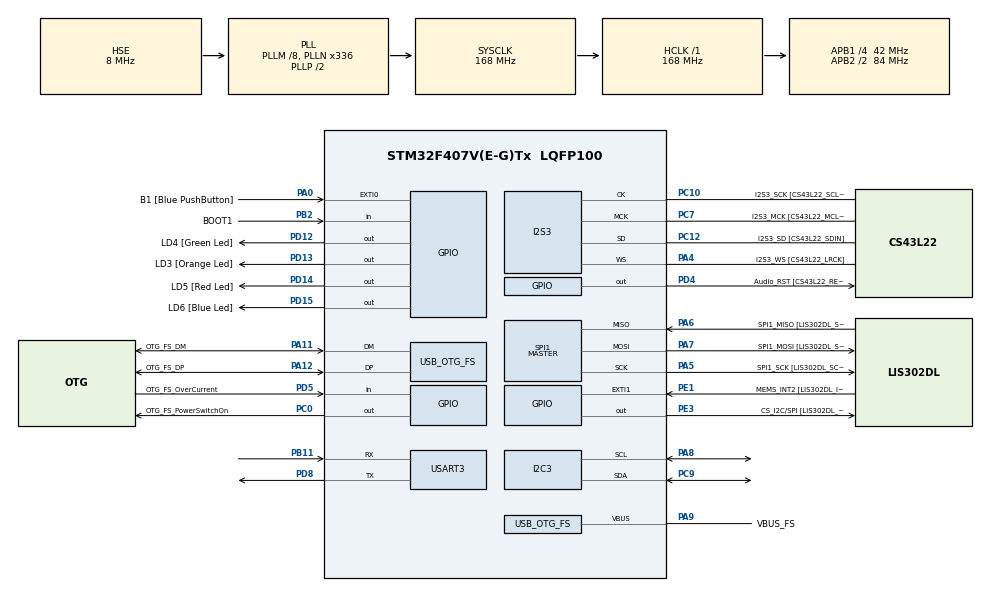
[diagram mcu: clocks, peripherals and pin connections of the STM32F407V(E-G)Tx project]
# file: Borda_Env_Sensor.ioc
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I2S3.AudioFreq-Half_Duplex_Master=I2S_AUDIOFREQ_96K
I2S3.ErrorAudioFreq=-2.34 %
I2S3.ErrorAudioFreq-Half_Duplex_Master=0.8 %
I2S3.FullDuplexMode=I2S_FULLDUPLEXMODE_DISABLE
I2S3.Instance=SPI$Index
I2S3.RealAudioFreq=93.75 KHz
I2S3.RealAudioFreq-Half_Duplex_Master=96.774 KHz
I2S3.VirtualMode=I2S_MODE_MASTER
Mcu.Family=STM32F4
Mcu.Name=STM32F407V(E-G)Tx
Mcu.Package=LQFP100
NVIC.OTG_FS_IRQn=true\:0\:0\:false\:false\:true\:true\:true\:true
NVIC.PriorityGroup=NVIC_PRIORITYGROUP_0
PA0-WKUP.GPIO_Label=B1 [Blue PushButton]
PA0-WKUP.GPIO_ModeDefaultEXTI=GPIO_MODE_EVT_RISING
PA0-WKUP.GPIO_PuPd=GPIO_NOPULL
PA0-WKUP.Signal=GPXTI0
PA10.GPIO_Label=OTG_FS_ID
PA10.GPIO_Mode=GPIO_MODE_AF_PP
PA10.GPIO_PuPd=GPIO_NOPULL
PA10.GPIO_Speed=GPIO_SPEED_FREQ_LOW
PA10.Signal=USB_OTG_FS_ID
PA11.GPIO_Label=OTG_FS_DM
PA11.GPIO_Mode=GPIO_MODE_AF_PP
PA11.GPIO_PuPd=GPIO_NOPULL
PA11.GPIO_Speed=GPIO_SPEED_FREQ_LOW
PA11.Mode=Host_Only
PA11.Signal=USB_OTG_FS_DM
PA12.GPIO_Label=OTG_FS_DP
PA12.GPIO_Mode=GPIO_MODE_AF_PP
PA12.GPIO_PuPd=GPIO_NOPULL
PA12.GPIO_Speed=GPIO_SPEED_FREQ_LOW
PA12.Mode=Host_Only
PA12.Signal=USB_OTG_FS_DP
PA13.GPIO_Label=SWDIO
PA13.Mode=Serial_Wire
PA13.Signal=SYS_JTMS-SWDIO
PA14.GPIO_Label=SWCLK
PA14.Mode=Serial_Wire
PA14.Signal=SYS_JTCK-SWCLK
PA4.GPIO_Label=I2S3_WS [CS43L22_LRCK]
PA4.GPIO_Mode=GPIO_MODE_AF_PP
PA4.GPIO_PuPd=GPIO_NOPULL
PA4.GPIO_Speed=GPIO_SPEED_FREQ_LOW
PA4.Mode=Half_Duplex_Master
PA4.Signal=I2S3_WS
PA5.GPIO_Label=SPI1_SCK [LIS302DL_SCL/SPC]
PA5.GPIO_Mode=GPIO_MODE_AF_PP
PA5.GPIO_PuPd=GPIO_NOPULL
PA5.GPIO_Speed=GPIO_SPEED_FREQ_LOW
PA5.Mode=Full_Duplex_Master
PA5.Signal=SPI1_SCK
PA6.GPIO_Label=SPI1_MISO [LIS302DL_SDO]
PA6.GPIO_Mode=GPIO_MODE_AF_PP
PA6.GPIO_PuPd=GPIO_NOPULL
PA6.GPIO_Speed=GPIO_SPEED_FREQ_LOW
PA6.Mode=Full_Duplex_Master
PA6.Signal=SPI1_MISO
PA7.GPIO_Label=SPI1_MOSI [LIS302DL_SDA/SDI/SDO]
PA7.GPIO_Mode=GPIO_MODE_AF_PP
PA7.GPIO_PuPd=GPIO_NOPULL
PA7.GPIO_Speed=GPIO_SPEED_FREQ_LOW
PA7.Mode=Full_Duplex_Master
PA7.Signal=SPI1_MOSI
PA8.Mode=I2C
PA8.Signal=I2C3_SCL
PA9.GPIO_Label=VBUS_FS
PA9.GPIO_Mode=GPIO_MODE_INPUT
PA9.GPIO_PuPd=GPIO_NOPULL
PA9.Mode=Activate_VBUS
PA9.Signal=USB_OTG_FS_VBUS
PB10.GPIO_Label=CLK_IN [MP45DT02_CLK]
PB10.GPIO_Mode=GPIO_MODE_AF_PP
PB10.GPIO_PuPd=GPIO_NOPULL
PB10.GPIO_Speed=GPIO_SPEED_FREQ_LOW
PB10.Signal=I2S2_CK
PB11.Mode=Asynchronous
PB11.Signal=USART3_RX
PB2.GPIO_Label=BOOT1
PB2.GPIO_Mode=GPIO_MODE_INPUT
PB2.GPIO_PuPd=GPIO_NOPULL
PB2.Signal=GPIO_Input
PB3.GPIO_Label=SWO
PB3.Signal=SYS_JTDO-SWO
PB6.GPIO_Label=Audio_SCL [CS43L22_SCL]
PB6.GPIO_Mode=GPIO_MODE_AF_OD
PB6.GPIO_Pu=GPIO_PULLUP
PB6.GPIO_PuPd=GPIO_NOPULL
PB6.GPIO_Speed=GPIO_SPEED_FREQ_LOW
PB6.Signal=I2C1_SCL
PB9.GPIO_Label=Audio_SDA [CS43L22_SDA]
PB9.GPIO_Mode=GPIO_MODE_AF_OD
PB9.GPIO_Pu=GPIO_PULLUP
PB9.GPIO_PuPd=GPIO_NOPULL
PB9.GPIO_Speed=GPIO_SPEED_FREQ_LOW
PB9.Signal=I2C1_SDA
PC0.GPIO_Label=OTG_FS_PowerSwitchOn
PC0.GPIO_PuPd=GPIO_NOPULL
PC0.GPIO_Speed=GPIO_SPEED_FREQ_LOW
PC0.PinState=GPIO_PIN_SET
PC0.Signal=GPIO_Output
PC10.GPIO_Label=I2S3_SCK [CS43L22_SCLK]
PC10.GPIO_Mode=GPIO_MODE_AF_PP
PC10.GPIO_PuPd=GPIO_NOPULL
PC10.GPIO_Speed=GPIO_SPEED_FREQ_LOW
PC10.Mode=Half_Duplex_Master
PC10.Signal=I2S3_CK
PC12.GPIO_Label=I2S3_SD [CS43L22_SDIN]
PC12.GPIO_Mode=GPIO_MODE_AF_PP
PC12.GPIO_PuPd=GPIO_NOPULL
PC12.GPIO_Speed=GPIO_SPEED_FREQ_LOW
PC12.Mode=Half_Duplex_Master
PC12.Signal=I2S3_SD
PC14-OSC32_IN.GPIO_Label=PC14-OSC32_IN
PC14-OSC32_IN.Mode=LSE-External-Oscillator
PC14-OSC32_IN.Signal=RCC_OSC32_IN
PC15-OSC32_OUT.GPIO_Label=PC15-OSC32_OUT
PC15-OSC32_OUT.Mode=LSE-External-Oscillator
PC15-OSC32_OUT.Signal=RCC_OSC32_OUT
PC3.GPIO_Label=PDM_OUT [MP45DT02_DOUT]
PC3.GPIO_Mode=GPIO_MODE_AF_PP
PC3.GPIO_PuPd=GPIO_NOPULL
PC3.GPIO_Speed=GPIO_SPEED_FREQ_LOW
PC3.Signal=I2S2_SD
PC7.GPIO_Label=I2S3_MCK [CS43L22_MCLK]
PC7.GPIO_Mode=GPIO_MODE_AF_PP
PC7.GPIO_PuPd=GPIO_NOPULL
PC7.GPIO_Speed=GPIO_SPEED_FREQ_LOW
PC7.Mode=Master_Clock_Activated
PC7.Signal=I2S3_MCK
PC9.Mode=I2C
PC9.Signal=I2C3_SDA
PD12.GPIO_Label=LD4 [Green Led]
PD12.GPIO_PuPd=GPIO_NOPULL
PD12.GPIO_Speed=GPIO_SPEED_FREQ_LOW
PD12.Signal=GPIO_Output
PD13.GPIO_Label=LD3 [Orange Led]
PD13.GPIO_PuPd=GPIO_NOPULL
PD13.GPIO_Speed=GPIO_SPEED_FREQ_LOW
PD13.Signal=GPIO_Output
PD14.GPIO_Label=LD5 [Red Led]
PD14.GPIO_PuPd=GPIO_NOPULL
PD14.GPIO_Speed=GPIO_SPEED_FREQ_LOW
PD14.Signal=GPIO_Output
PD15.GPIO_Label=LD6 [Blue Led]
PD15.GPIO_PuPd=GPIO_NOPULL
PD15.GPIO_Speed=GPIO_SPEED_FREQ_LOW
PD15.Signal=GPIO_Output
PD4.GPIO_Label=Audio_RST [CS43L22_RESET]
PD4.GPIO_PuPd=GPIO_NOPULL
PD4.GPIO_Speed=GPIO_SPEED_FREQ_LOW
PD4.Signal=GPIO_Output
PD5.GPIO_Label=OTG_FS_OverCurrent
PD5.GPIO_Mode=GPIO_MODE_INPUT
PD5.GPIO_PuPd=GPIO_NOPULL
PD5.Signal=GPIO_Input
PD8.Mode=Asynchronous
PD8.Signal=USART3_TX
PE1.GPIO_Label=MEMS_INT2 [LIS302DL_INT2]
PE1.GPIO_ModeDefaultEXTI=GPIO_MODE_EVT_RISING
PE1.GPIO_PuPd=GPIO_NOPULL
PE1.Signal=GPXTI1
PE3.GPIO_Label=CS_I2C/SPI [LIS302DL_CS_I2C/SPI]
PE3.GPIO_PuPd=GPIO_NOPULL
PE3.GPIO_Speed=GPIO_SPEED_FREQ_LOW
PE3.Signal=GPIO_Output
PH0-OSC_IN.GPIO_Label=PH0-OSC_IN
PH0-OSC_IN.Mode=HSE-External-Oscillator
PH0-OSC_IN.Signal=RCC_OSC_IN
PH1-OSC_OUT.GPIO_Label=PH1-OSC_OUT
PH1-OSC_OUT.Mode=HSE-External-Oscillator
PH1-OSC_OUT.Signal=RCC_OSC_OUT
ProjectManager.HeapSize=0x200
ProjectManager.StackSize=0x400
ProjectManager.TargetToolchain=STM32CubeIDE
RCC.48MHZClocksFreq_Value=48000000
RCC.AHBFreq_Value=168000000
RCC.APB1CLKDivider=RCC_HCLK_DIV4
RCC.APB1Freq_Value=42000000
RCC.APB1TimFreq_Value=84000000
RCC.APB2CLKDivider=RCC_HCLK_DIV2
RCC.APB2Freq_Value=84000000
RCC.APB2TimFreq_Value=168000000
RCC.CortexFreq_Value=168000000
RCC.HCLKFreq_Value=168000000
RCC.HSE_VALUE=8000000
RCC.HSI_VALUE=16000000
RCC.PLLM=8
RCC.PLLN=336
RCC.PLLQ=7
RCC.SYSCLKFreq_VALUE=168000000
RCC.SYSCLKSource=RCC_SYSCLKSOURCE_PLLCLK
RCC.VCOOutputFreq_Value=336000000
SPI1.BaudRatePrescaler-Full_Duplex_Master=SPI_BAUDRATEPRESCALER_2
SPI1.CalculateBaudRate-Full_Duplex_Master=42.0 MBits/s
SPI1.Direction=SPI_DIRECTION_2LINES
SPI1.Mode=SPI_MODE_MASTER
SPI1.Mode-Full_Duplex_Master=SPI_MODE_MASTER
SPI1.VirtualType=VM_MASTER
USART3.VirtualMode=VM_ASYNC
USB_HOST.BSP.number=1
USB_HOST.USBH_HandleTypeDef-CDC_FS=hUsbHostFS
USB_HOST.VirtualModeFS=Cdc
USB_HOST0.BSP.STBoard=false
USB_HOST0.BSP.api=Unknown
USB_HOST0.BSP.instance=PC0
USB_HOST0.BSP.ip=GPIO
USB_HOST0.BSP.mode=Output
USB_HOST0.BSP.name=Drive_VBUS_FS
USB_HOST0.BSP.solution=PC0
USB_OTG_FS.VirtualMode=Host_Only
USB_OTG_FS.phy_itface=HCD_PHY_EMBEDDED
VP_USB_HOST_VS_USB_HOST_CDC_FS.Mode=CDC_FS
board=STM32F407G-DISC1

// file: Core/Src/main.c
/* USER CODE BEGIN Header */
/**
  ******************************************************************************
  * @file           : main.c
  * @brief          : Main program body
  ******************************************************************************
  * @attention
  *
  * Copyright (c) 2026 STMicroelectronics.
  * All rights reserved.
  *
  * This software is licensed under terms that can be found in the LICENSE file
  * in the root directory of this software component.
  * If no LICENSE file comes with this software, it is provided AS-IS.
  *
  *	@Reference: This project architecture and code generation were assisted by
  * AI tools (Claude Sonnet 4.6) as encouraged in the Borda Academy 2026
  * assignment guidelines. Sensor datasheet links and revisions are manually
  * verified and documented in their respective header files.
  *
  ******************************************************************************
  */
/* USER CODE END Header */
#include "main.h"
#include "usb_host.h"

/* USER CODE BEGIN Includes */

#include <stdio.h>              /* printf()                                    */
#include <stdlib.h>             /* srand(), rand() for mock RNG seed          */
#include "sensor_manager.h"     /* i2c_sensor_read(), sensor_t                 */
#include "median_filter.h"      /* filter_sensor_value(), median_filter_reset_all() */
#include "circular_buffer.h"    /* buf_handle_t, buffer_put_value(), ...       */
#include "ble_simulator.h"      /* ble_packet_t, ble_compute_statistics(), ... */

/* USER CODE END Includes */

I2C_HandleTypeDef hi2c3;

I2S_HandleTypeDef hi2s3;

SPI_HandleTypeDef hspi1;

UART_HandleTypeDef huart3;

/* USER CODE BEGIN PV */

/* ── Timing constants ────────────────────────────────────────────────────
 *   HAL_GetTick() returns ms elapsed since boot.
 *   1 Hz  = 1 000 ms   → sensor read period
 *   30 s  = 30 000 ms  → BLE / UART report period                         */
#define SENSOR_READ_PERIOD_MS    (1000UL)
#define BLE_REPORT_PERIOD_MS    (30000UL)

/* ── Circular buffer capacity ────────────────────────────────────────────
 *   30 seconds × 1 sample/s = 30 samples.
 *   Adding a few extra slots (32) avoids any off-by-one wrap issues.      */
#define SENSOR_BUF_CAPACITY     (30U)

/* ── Filter window size ──────────────────────────────────────────────────
 *   5-sample window: good noise rejection, low latency at 1 Hz.
 *   Must be odd (or median_filter will promote it); see median_filter.h.  */
#define FILTER_WINDOW_SIZE       (5U)

/* ── Backing arrays for the three circular buffers ───────────────────────*/
static float s_temp_data_arr[SENSOR_BUF_CAPACITY];
static float s_hum_data_arr [SENSOR_BUF_CAPACITY];
static float s_co2_data_arr [SENSOR_BUF_CAPACITY];

/* ── Circular buffer handles ─────────────────────────────────────────────*/
static struct buf_handle_t s_temp_buf;
static struct buf_handle_t s_hum_buf;
static struct buf_handle_t s_co2_buf;

/* ── Timestamp trackers ──────────────────────────────────────────────────*/
static uint32_t s_last_read_tick   = 0UL;
static uint32_t s_last_report_tick = 0UL;

/* USER CODE END PV */

void SystemClock_Config(void);
static void MX_GPIO_Init(void);
static void MX_I2S3_Init(void);
static void MX_SPI1_Init(void);
static void MX_I2C3_Init(void);
static void MX_USART3_UART_Init(void);
void MX_USB_HOST_Process(void);

/* USER CODE BEGIN 0 */

/*
 * Redirect printf() → UART3 (115 200 8N1).
 *
 * STM32CubeIDE's syscalls.c provides a weak _write() that calls
 * __io_putchar() one byte at a time.  This override sends the whole
 * buffer in a single HAL_UART_Transmit() call, which is more efficient
 * and avoids the overhead of per-byte interrupt entries.
 *
 * NOTE: huart3 is declared above in the "Private variables" section of
 * this same translation unit; no extern declaration is needed here.
 */

int __io_putchar(int ch)
{
    uint8_t byte = (uint8_t)ch;
    HAL_UART_Transmit(&huart3, &byte, 1U, HAL_MAX_DELAY);
    return ch;
}

/* USER CODE END 0 */

int main(void)
{

  /* MCU Configuration--------------------------------------------------------*/

  /* Reset of all peripherals, Initializes the Flash interface and the Systick. */
  HAL_Init();

  /* Configure the system clock */
  SystemClock_Config();

  /* Initialize all configured peripherals */
  MX_GPIO_Init();
  MX_I2S3_Init();
  MX_SPI1_Init();
  MX_USB_HOST_Init();
  MX_I2C3_Init();
  MX_USART3_UART_Init();
  /* USER CODE BEGIN 2 */

  /* ── Seed the pseudo-random number generator for mock sensor data ── */
  srand((unsigned int)HAL_GetTick());

  /* Initialise all median filter instances */
      median_filter_reset_all();

      /* Initialise circular buffers */
      buffer_init(&s_temp_buf, s_temp_data_arr, SENSOR_BUF_CAPACITY);
      buffer_init(&s_hum_buf,  s_hum_data_arr,  SENSOR_BUF_CAPACITY);
      buffer_init(&s_co2_buf,  s_co2_data_arr,  SENSOR_BUF_CAPACITY);

      /* Capture boot time so the first read fires almost immediately */
      s_last_read_tick   = HAL_GetTick();
      s_last_report_tick = HAL_GetTick();

      printf("\r\n========================================\r\n");
      printf("  Borda Academy 2026 - Sensor Monitor  \r\n");
      printf("  Board: STM32F407G-DISC1              \r\n");
      printf("  Read period : %lu ms                 \r\n", SENSOR_READ_PERIOD_MS);
      printf("  Report period: %lu ms                \r\n", BLE_REPORT_PERIOD_MS);
      printf("========================================\r\n\r\n");

  /* USER CODE END 2 */

  /* Infinite loop */
  while (1)
  {
    MX_USB_HOST_Process();

    /* USER CODE BEGIN 3 */

    uint32_t now = HAL_GetTick();

            /* ── 1 Hz: Read all three sensors, filter, and buffer ────────────── */
            if ((now - s_last_read_tick) >= SENSOR_READ_PERIOD_MS)
            {
                s_last_read_tick = now;

                /*
                 * Sensor read order MUST remain fixed:
                 *   1. TEMP     → median filter instance 0
                 *   2. HUMIDITY → median filter instance 1
                 *   3. CO2      → median filter instance 2
                 * Changing the order breaks the round-robin assignment in
                 * median_filter.c.  See median_filter.h for details.
                 */

                /* 1. Temperature — TMP102 @ 0x48 */
                float raw_temp = i2c_sensor_read(SENSOR_ADDR_TEMP, TEMP);
                float flt_temp = filter_sensor_value(raw_temp, FILTER_WINDOW_SIZE);
                buffer_put_value(&s_temp_buf, flt_temp);

                /* 2. Relative Humidity — SHTC3 @ 0x70 */
                float raw_hum  = i2c_sensor_read(SENSOR_ADDR_HUMIDITY, HUMIDITY);
                float flt_hum  = filter_sensor_value(raw_hum, FILTER_WINDOW_SIZE);
                buffer_put_value(&s_hum_buf, flt_hum);

                /* 3. eCO2 — SGP30 @ 0x58 */
                float raw_co2  = i2c_sensor_read(SENSOR_ADDR_CO2, CO2);
                float flt_co2  = filter_sensor_value(raw_co2, FILTER_WINDOW_SIZE);
                buffer_put_value(&s_co2_buf, flt_co2);

                /* Optional: single-line live readout for debugging */
                printf("[READ] T=%6.2f C  RH=%5.1f %%  CO2=%6.0f ppm\r\n",
                       (double)flt_temp, (double)flt_hum, (double)flt_co2);
            }

            /* ── 30 s: Compute statistics and send BLE packets ───────────────── */
            if ((now - s_last_report_tick) >= BLE_REPORT_PERIOD_MS)
            {
                s_last_report_tick = now;

                ble_packet_t pkt;

                printf("\r\n--- 30-second BLE Report ---\r\n");

                ble_compute_statistics(&s_temp_buf, TEMP,     &pkt);
                send_ble_packet_uart(&pkt, TEMP);

                ble_compute_statistics(&s_hum_buf,  HUMIDITY, &pkt);
                send_ble_packet_uart(&pkt, HUMIDITY);

                ble_compute_statistics(&s_co2_buf,  CO2,      &pkt);
                send_ble_packet_uart(&pkt, CO2);

                printf("----------------------------\r\n\r\n");
            }
  }
  /* USER CODE END 3 */
}

void SystemClock_Config(void)
{
  RCC_OscInitTypeDef RCC_OscInitStruct = {0};
  RCC_ClkInitTypeDef RCC_ClkInitStruct = {0};

  /** Configure the main internal regulator output voltage
  */
  __HAL_RCC_PWR_CLK_ENABLE();
  __HAL_PWR_VOLTAGESCALING_CONFIG(PWR_REGULATOR_VOLTAGE_SCALE1);

  /** Initializes the RCC Oscillators according to the specified parameters
  * in the RCC_OscInitTypeDef structure.
  */
  RCC_OscInitStruct.OscillatorType = RCC_OSCILLATORTYPE_HSE;
  RCC_OscInitStruct.HSEState = RCC_HSE_ON;
  RCC_OscInitStruct.PLL.PLLState = RCC_PLL_ON;
  RCC_OscInitStruct.PLL.PLLSource = RCC_PLLSOURCE_HSE;
  RCC_OscInitStruct.PLL.PLLM = 8;
  RCC_OscInitStruct.PLL.PLLN = 336;
  RCC_OscInitStruct.PLL.PLLP = RCC_PLLP_DIV2;
  RCC_OscInitStruct.PLL.PLLQ = 7;
  if (HAL_RCC_OscConfig(&RCC_OscInitStruct) != HAL_OK)
  {
    Error_Handler();
  }

  /** Initializes the CPU, AHB and APB buses clocks
  */
  RCC_ClkInitStruct.ClockType = RCC_CLOCKTYPE_HCLK|RCC_CLOCKTYPE_SYSCLK
                              |RCC_CLOCKTYPE_PCLK1|RCC_CLOCKTYPE_PCLK2;
  RCC_ClkInitStruct.SYSCLKSource = RCC_SYSCLKSOURCE_PLLCLK;
  RCC_ClkInitStruct.AHBCLKDivider = RCC_SYSCLK_DIV1;
  RCC_ClkInitStruct.APB1CLKDivider = RCC_HCLK_DIV4;
  RCC_ClkInitStruct.APB2CLKDivider = RCC_HCLK_DIV2;

  if (HAL_RCC_ClockConfig(&RCC_ClkInitStruct, FLASH_LATENCY_5) != HAL_OK)
  {
    Error_Handler();
  }
}

static void MX_I2C3_Init(void)
{

  hi2c3.Instance = I2C3;
  hi2c3.Init.ClockSpeed = 100000;
  hi2c3.Init.DutyCycle = I2C_DUTYCYCLE_2;
  hi2c3.Init.OwnAddress1 = 0;
  hi2c3.Init.AddressingMode = I2C_ADDRESSINGMODE_7BIT;
  hi2c3.Init.DualAddressMode = I2C_DUALADDRESS_DISABLE;
  hi2c3.Init.OwnAddress2 = 0;
  hi2c3.Init.GeneralCallMode = I2C_GENERALCALL_DISABLE;
  hi2c3.Init.NoStretchMode = I2C_NOSTRETCH_DISABLE;
  if (HAL_I2C_Init(&hi2c3) != HAL_OK)
  {
    Error_Handler();
  }

}

static void MX_I2S3_Init(void)
{

  hi2s3.Instance = SPI3;
  hi2s3.Init.Mode = I2S_MODE_MASTER_TX;
  hi2s3.Init.Standard = I2S_STANDARD_PHILIPS;
  hi2s3.Init.DataFormat = I2S_DATAFORMAT_16B;
  hi2s3.Init.MCLKOutput = I2S_MCLKOUTPUT_ENABLE;
  hi2s3.Init.AudioFreq = I2S_AUDIOFREQ_96K;
  hi2s3.Init.CPOL = I2S_CPOL_LOW;
  hi2s3.Init.ClockSource = I2S_CLOCK_PLL;
  hi2s3.Init.FullDuplexMode = I2S_FULLDUPLEXMODE_DISABLE;
  if (HAL_I2S_Init(&hi2s3) != HAL_OK)
  {
    Error_Handler();
  }

}

static void MX_SPI1_Init(void)
{

  /* SPI1 parameter configuration*/
  hspi1.Instance = SPI1;
  hspi1.Init.Mode = SPI_MODE_MASTER;
  hspi1.Init.Direction = SPI_DIRECTION_2LINES;
  hspi1.Init.DataSize = SPI_DATASIZE_8BIT;
  hspi1.Init.CLKPolarity = SPI_POLARITY_LOW;
  hspi1.Init.CLKPhase = SPI_PHASE_1EDGE;
  hspi1.Init.NSS = SPI_NSS_SOFT;
  hspi1.Init.BaudRatePrescaler = SPI_BAUDRATEPRESCALER_2;
  hspi1.Init.FirstBit = SPI_FIRSTBIT_MSB;
  hspi1.Init.TIMode = SPI_TIMODE_DISABLE;
  hspi1.Init.CRCCalculation = SPI_CRCCALCULATION_DISABLE;
  hspi1.Init.CRCPolynomial = 10;
  if (HAL_SPI_Init(&hspi1) != HAL_OK)
  {
    Error_Handler();
  }

}

static void MX_USART3_UART_Init(void)
{

  huart3.Instance = USART3;
  huart3.Init.BaudRate = 115200;
  huart3.Init.WordLength = UART_WORDLENGTH_8B;
  huart3.Init.StopBits = UART_STOPBITS_1;
  huart3.Init.Parity = UART_PARITY_NONE;
  huart3.Init.Mode = UART_MODE_TX_RX;
  huart3.Init.HwFlowCtl = UART_HWCONTROL_NONE;
  huart3.Init.OverSampling = UART_OVERSAMPLING_16;
  if (HAL_UART_Init(&huart3) != HAL_OK)
  {
    Error_Handler();
  }

}

static void MX_GPIO_Init(void)
{
  GPIO_InitTypeDef GPIO_InitStruct = {0};

  /* GPIO Ports Clock Enable */
  __HAL_RCC_GPIOE_CLK_ENABLE();
  __HAL_RCC_GPIOC_CLK_ENABLE();
  __HAL_RCC_GPIOH_CLK_ENABLE();
  __HAL_RCC_GPIOA_CLK_ENABLE();
  __HAL_RCC_GPIOB_CLK_ENABLE();
  __HAL_RCC_GPIOD_CLK_ENABLE();

  /*Configure GPIO pin Output Level */
  HAL_GPIO_WritePin(CS_I2C_SPI_GPIO_Port, CS_I2C_SPI_Pin, GPIO_PIN_RESET);

  /*Configure GPIO pin Output Level */
  HAL_GPIO_WritePin(OTG_FS_PowerSwitchOn_GPIO_Port, OTG_FS_PowerSwitchOn_Pin, GPIO_PIN_SET);

  /*Configure GPIO pin Output Level */
  HAL_GPIO_WritePin(GPIOD, LD4_Pin|LD3_Pin|LD5_Pin|LD6_Pin
                          |Audio_RST_Pin, GPIO_PIN_RESET);

  /*Configure GPIO pin : CS_I2C_SPI_Pin */
  GPIO_InitStruct.Pin = CS_I2C_SPI_Pin;
  GPIO_InitStruct.Mode = GPIO_MODE_OUTPUT_PP;
  GPIO_InitStruct.Pull = GPIO_NOPULL;
  GPIO_InitStruct.Speed = GPIO_SPEED_FREQ_LOW;
  HAL_GPIO_Init(CS_I2C_SPI_GPIO_Port, &GPIO_InitStruct);

  /*Configure GPIO pin : OTG_FS_PowerSwitchOn_Pin */
  GPIO_InitStruct.Pin = OTG_FS_PowerSwitchOn_Pin;
  GPIO_InitStruct.Mode = GPIO_MODE_OUTPUT_PP;
  GPIO_InitStruct.Pull = GPIO_NOPULL;
  GPIO_InitStruct.Speed = GPIO_SPEED_FREQ_LOW;
  HAL_GPIO_Init(OTG_FS_PowerSwitchOn_GPIO_Port, &GPIO_InitStruct);

  /*Configure GPIO pin : PDM_OUT_Pin */
  GPIO_InitStruct.Pin = PDM_OUT_Pin;
  GPIO_InitStruct.Mode = GPIO_MODE_AF_PP;
  GPIO_InitStruct.Pull = GPIO_NOPULL;
  GPIO_InitStruct.Speed = GPIO_SPEED_FREQ_LOW;
  GPIO_InitStruct.Alternate = GPIO_AF5_SPI2;
  HAL_GPIO_Init(PDM_OUT_GPIO_Port, &GPIO_InitStruct);

  /*Configure GPIO pin : B1_Pin */
  GPIO_InitStruct.Pin = B1_Pin;
  GPIO_InitStruct.Mode = GPIO_MODE_EVT_RISING;
  GPIO_InitStruct.Pull = GPIO_NOPULL;
  HAL_GPIO_Init(B1_GPIO_Port, &GPIO_InitStruct);

  /*Configure GPIO pin : BOOT1_Pin */
  GPIO_InitStruct.Pin = BOOT1_Pin;
  GPIO_InitStruct.Mode = GPIO_MODE_INPUT;
  GPIO_InitStruct.Pull = GPIO_NOPULL;
  HAL_GPIO_Init(BOOT1_GPIO_Port, &GPIO_InitStruct);

  /*Configure GPIO pin : CLK_IN_Pin */
  GPIO_InitStruct.Pin = CLK_IN_Pin;
  GPIO_InitStruct.Mode = GPIO_MODE_AF_PP;
  GPIO_InitStruct.Pull = GPIO_NOPULL;
  GPIO_InitStruct.Speed = GPIO_SPEED_FREQ_LOW;
  GPIO_InitStruct.Alternate = GPIO_AF5_SPI2;
  HAL_GPIO_Init(CLK_IN_GPIO_Port, &GPIO_InitStruct);

  /*Configure GPIO pins : LD4_Pin LD3_Pin LD5_Pin LD6_Pin
                           Audio_RST_Pin */
  GPIO_InitStruct.Pin = LD4_Pin|LD3_Pin|LD5_Pin|LD6_Pin
                          |Audio_RST_Pin;
  GPIO_InitStruct.Mode = GPIO_MODE_OUTPUT_PP;
  GPIO_InitStruct.Pull = GPIO_NOPULL;
  GPIO_InitStruct.Speed = GPIO_SPEED_FREQ_LOW;
  HAL_GPIO_Init(GPIOD, &GPIO_InitStruct);

  /*Configure GPIO pin : OTG_FS_OverCurrent_Pin */
  GPIO_InitStruct.Pin = OTG_FS_OverCurrent_Pin;
  GPIO_InitStruct.Mode = GPIO_MODE_INPUT;
  GPIO_InitStruct.Pull = GPIO_NOPULL;
  HAL_GPIO_Init(OTG_FS_OverCurrent_GPIO_Port, &GPIO_InitStruct);

  /*Configure GPIO pins : Audio_SCL_Pin Audio_SDA_Pin */
  GPIO_InitStruct.Pin = Audio_SCL_Pin|Audio_SDA_Pin;
  GPIO_InitStruct.Mode = GPIO_MODE_AF_OD;
  GPIO_InitStruct.Pull = GPIO_PULLUP;
  GPIO_InitStruct.Speed = GPIO_SPEED_FREQ_LOW;
  GPIO_InitStruct.Alternate = GPIO_AF4_I2C1;
  HAL_GPIO_Init(GPIOB, &GPIO_InitStruct);

  /*Configure GPIO pin : MEMS_INT2_Pin */
  GPIO_InitStruct.Pin = MEMS_INT2_Pin;
  GPIO_InitStruct.Mode = GPIO_MODE_EVT_RISING;
  GPIO_InitStruct.Pull = GPIO_NOPULL;
  HAL_GPIO_Init(MEMS_INT2_GPIO_Port, &GPIO_InitStruct);

}

void Error_Handler(void)
{
  __disable_irq();
  while (1)
  {
  }
}
